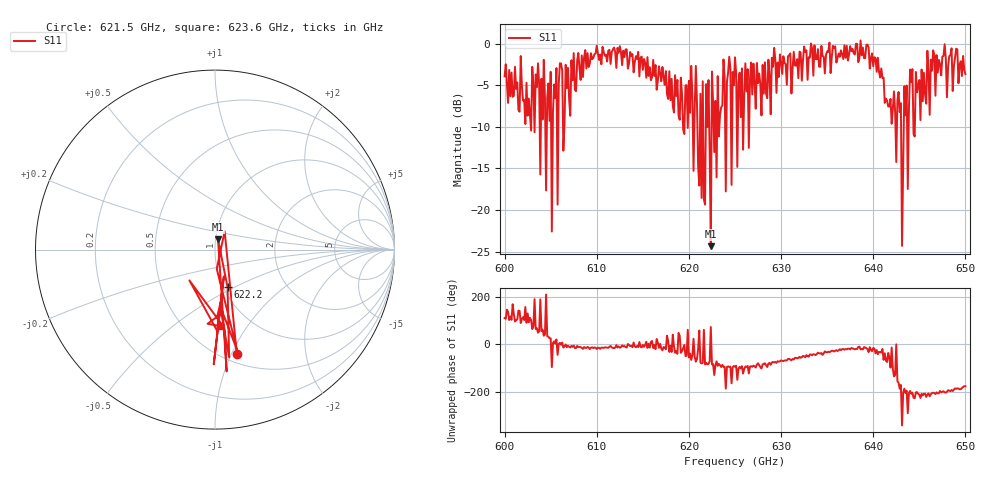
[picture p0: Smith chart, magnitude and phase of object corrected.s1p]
!Created with skrf (http://scikit-rf.org).
# GHz S MA R 50.0
!freq magS11 angS11
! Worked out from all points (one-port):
!   401 points, 600 GHz to 650 GHz, reference 50 ohm
!   lowest |S11| = -24.4 dB at 622.4 GHz (marker M1), VSWR 1.13, Z = 51.3 + j6 ohm
!   |S11| at or under -10 dB: 619.366 GHz to 619.5182 GHz (152.2 MHz wide, 0.0246 % of centre); 620.9223 GHz to 621.2048 GHz (282.5 MHz wide, 0.0455 % of centre); 621.5483 GHz to 621.8306 GHz (282.3 MHz wide, 0.0454 % of centre)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
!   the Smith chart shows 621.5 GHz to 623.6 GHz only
!   S11 on the Smith chart (normalised r, x): 621.5 GHz: 0.58, -1.05; 622.2 GHz: 1.05, -0.46; 623.6 GHz: 0.72, -0.75
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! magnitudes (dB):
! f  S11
! 600 GHz  -3.9
! 602.6 GHz  -6.6
! 603.5 GHz  -5.2
! 605 GHz  -3.4
! 606.2 GHz  -3.2
! 608.1 GHz  -2.9
! 612.5 GHz  -0.3
! 618.8 GHz  -4.3
! 620.5 GHz  -15.3
! 621.1 GHz  -17.1
! 621.5 GHz  -4.5
! 622.2 GHz  -13.1
! 622.4 GHz  -24.4
! 622.5 GHz  -3.3
! 623.6 GHz  -7.4
! 623.8 GHz  -1.9
! 625 GHz  -1.6
! 631.2 GHz  -3.0
! 637.5 GHz  -0.3
! 640.4 GHz  -3.4
! 642.2 GHz  -5.7
! 642.8 GHz  -5.8
! 643 GHz  -7.1
! 643.8 GHz  -17.5
! 644.1 GHz  -4.6
! 644.6 GHz  -3.4
! 647.6 GHz  -1.5
! 650 GHz  -3.6
